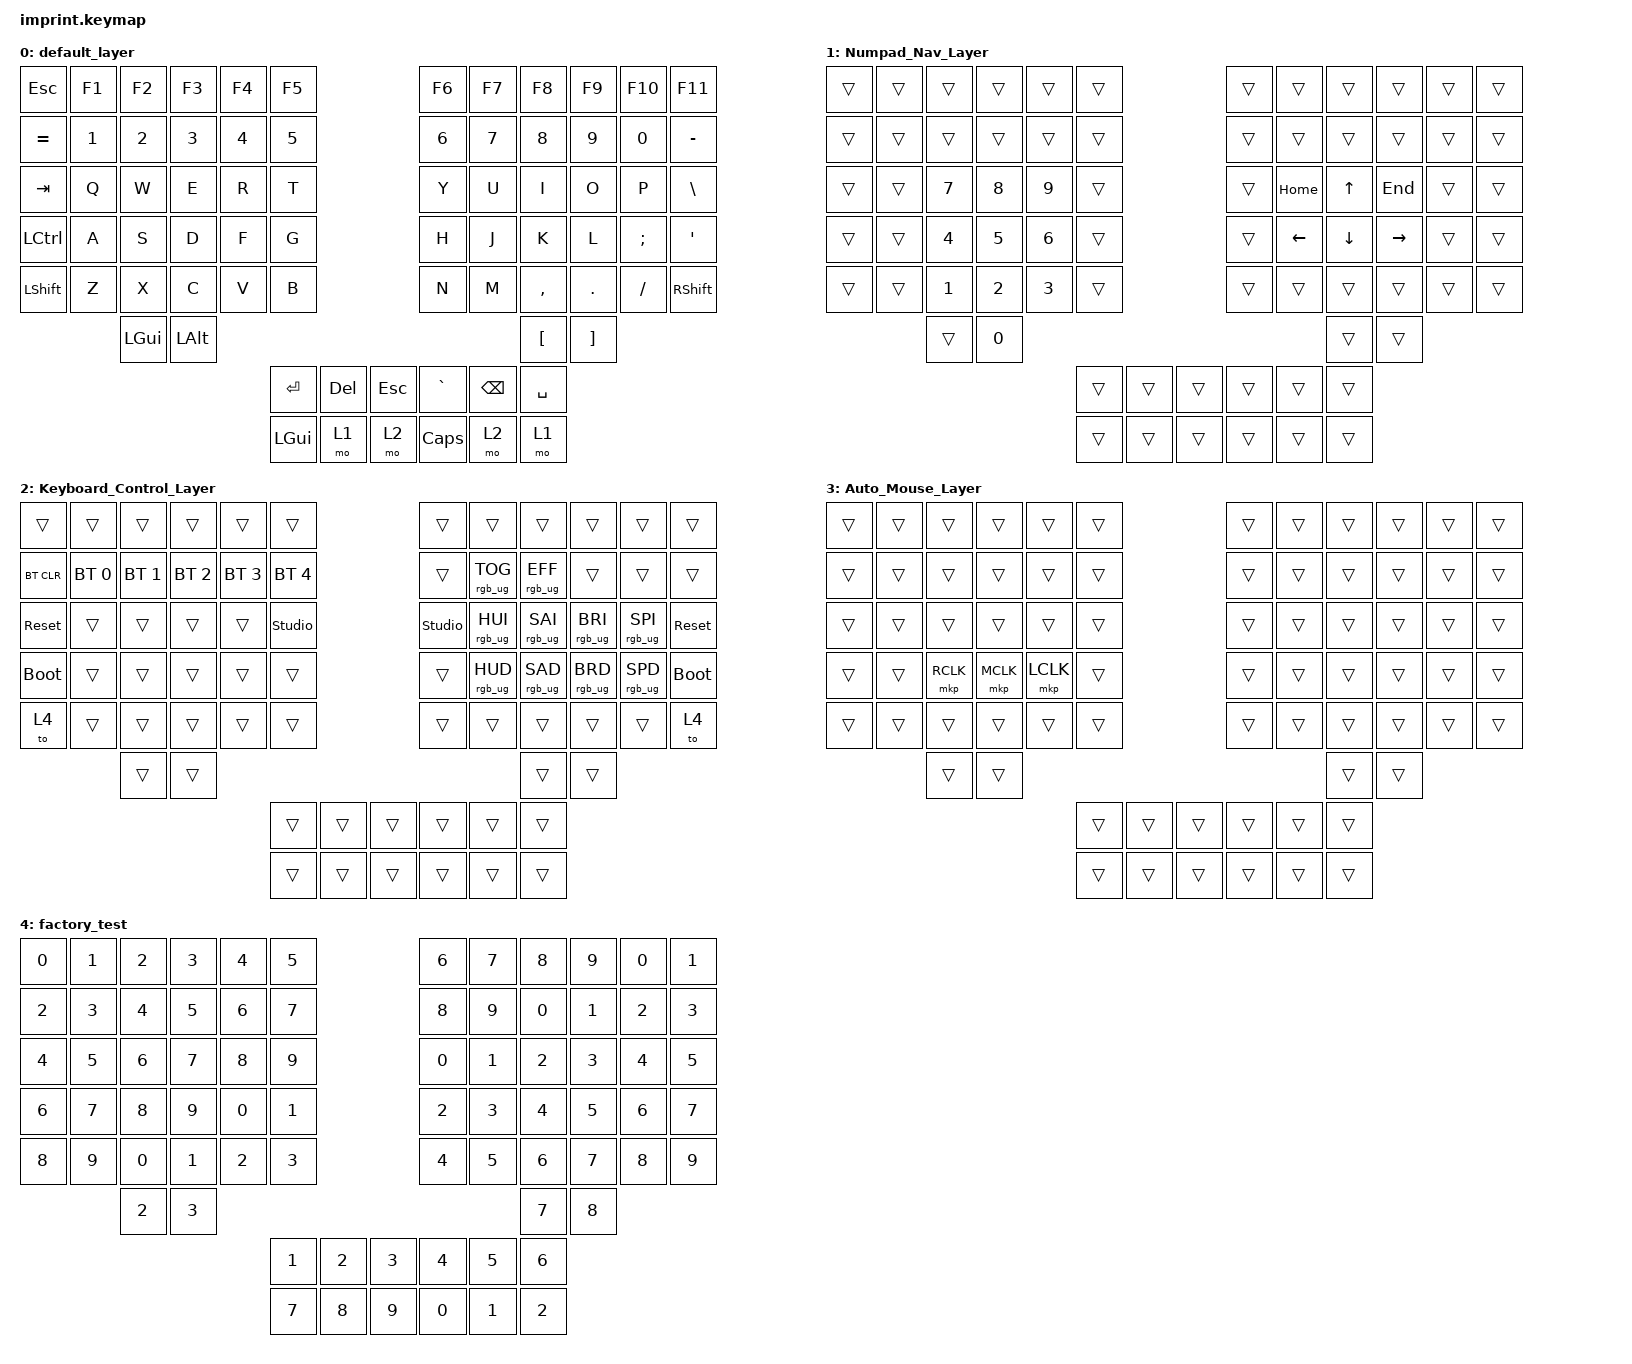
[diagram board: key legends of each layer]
#include <input/processors.dtsi>
#include <dt-bindings/zmk/input_transform.h>
#include <behaviors.dtsi>
#include <dt-bindings/zmk/bt.h>
#include <dt-bindings/zmk/keys.h>
#include <dt-bindings/zmk/pointing.h>
#include <dt-bindings/zmk/rgb.h>

/ {
    chosen { zmk,matrix-transform = &imprint_function_row;
    };
    keymap {
        compatible = "zmk,keymap";

        default_layer {
            bindings = <
 &kp ESC    &kp F1    &kp F2    &kp F3    &kp F4  &kp F5                                         &kp F6      &kp F7     &kp F8    &kp F9   &kp F10  &kp F11
 &kp EQUAL    &kp N1    &kp N2    &kp N3    &kp N4  &kp N5                                         &kp N6      &kp N7     &kp N8    &kp N9   &kp N0   &kp MINUS
 &kp TAB    &kp Q     &kp W     &kp E     &kp R   &kp T                                          &kp Y       &kp U      &kp I     &kp O    &kp P    &kp BSLH
 &kp LCTRL  &kp A     &kp S     &kp D     &kp F   &kp G                                          &kp H       &kp J      &kp K     &kp L    &kp SEMI &kp SQT
 &kp LSHFT  &kp Z     &kp X     &kp C     &kp V   &kp B                                          &kp N       &kp M      &kp COMMA &kp DOT  &kp FSLH &kp RSHFT
                      &kp LGUI  &kp LALT                                                                                &kp LBKT  &kp RBKT
                                                  &kp RET  &kp DEL &kp ESC    &kp GRAVE &kp BSPC &kp SPACE
                                                  &kp LGUI &mo 1   &mo 2      &kp CAPS  &mo 2    &mo 1
            >;
        };

        Numpad_Nav_Layer {
            bindings = <
 &trans  &trans  &trans  &trans  &trans  &trans                                     &trans  &trans   &trans   &trans    &trans  &trans
 &trans  &trans  &trans  &trans  &trans  &trans                                     &trans  &trans   &trans   &trans    &trans  &trans
 &trans  &trans  &kp N7  &kp N8  &kp N9  &trans                                     &trans  &kp HOME &kp UP   &kp END   &trans  &trans
 &trans  &trans  &kp N4  &kp N5  &kp N6  &trans                                     &trans  &kp LEFT &kp DOWN &kp RIGHT &trans  &trans
 &trans  &trans  &kp N1  &kp N2  &kp N3  &trans                                     &trans  &trans   &trans   &trans    &trans  &trans
                 &trans  &kp N0                                                                      &trans   &trans
                                      &trans  &trans &trans       &trans  &trans &trans
                                      &trans  &trans &trans       &trans  &trans &trans
            >;
        };

        Keyboard_Control_Layer {
            bindings = <
 &trans      &trans  &trans  &trans  &trans  &trans                                     &trans         &trans           &trans          &trans          &trans          &trans
 &bt BT_CLR  &bt BT_SEL 0 &bt BT_SEL 1 &bt BT_SEL 2 &bt BT_SEL 3 &bt BT_SEL 4           &trans         &rgb_ug RGB_TOG  &rgb_ug RGB_EFF &trans          &trans          &trans
 &sys_reset      &trans  &trans  &trans  &trans  &studio_unlock                             &studio_unlock &rgb_ug RGB_HUI  &rgb_ug RGB_SAI &rgb_ug RGB_BRI &rgb_ug RGB_SPI &sys_reset
 &bootloader &trans  &trans  &trans  &trans  &trans                                     &trans         &rgb_ug RGB_HUD  &rgb_ug RGB_SAD &rgb_ug RGB_BRD &rgb_ug RGB_SPD &bootloader
 &to 4      &trans  &trans  &trans  &trans  &trans                                     &trans         &trans           &trans          &trans          &trans          &to 4
                 &trans  &trans                                                                                         &trans          &trans
                                         &trans  &trans &trans        &trans &trans &trans
                                         &trans  &trans &trans        &trans &trans &trans
            >;
        };

        Auto_Mouse_Layer {
            bindings = <
 &trans  &trans  &trans  &trans  &trans  &trans                                     &trans  &trans  &trans  &trans  &trans  &trans
 &trans  &trans  &trans  &trans  &trans  &trans                                     &trans  &trans  &trans  &trans  &trans  &trans
 &trans  &trans  &trans  &trans  &trans  &trans                                     &trans  &trans  &trans  &trans  &trans  &trans
 &trans  &trans  &mkp RCLK  &mkp MCLK  &mkp LCLK  &trans                            &trans  &trans  &trans  &trans  &trans  &trans
 &trans  &trans  &trans  &trans  &trans  &trans                                     &trans  &trans  &trans  &trans  &trans  &trans
                 &trans  &trans                                                                     &trans  &trans
                                         &trans  &trans &trans        &trans &trans &trans
                                         &trans  &trans &trans        &trans &trans &trans
            >;
        };

        factory_test {
            bindings = <
&kp N0  &kp N1  &kp N2  &kp N3  &kp N4  &kp N5            &kp N6  &kp N7  &kp N8  &kp N9  &kp N0  &kp N1
&kp N2  &kp N3  &kp N4  &kp N5  &kp N6  &kp N7            &kp N8  &kp N9  &kp N0  &kp N1  &kp N2  &kp N3
&kp N4  &kp N5  &kp N6  &kp N7  &kp N8  &kp N9            &kp N0  &kp N1  &kp N2  &kp N3  &kp N4  &kp N5
&kp N6  &kp N7  &kp N8  &kp N9  &kp N0  &kp N1            &kp N2  &kp N3  &kp N4  &kp N5  &kp N6  &kp N7
&kp N8  &kp N9  &kp N0  &kp N1  &kp N2  &kp N3            &kp N4  &kp N5  &kp N6  &kp N7  &kp N8  &kp N9
                            &kp N2  &kp N3                                                                    &kp N7  &kp N8
                                &kp N1  &kp N2  &kp N3    &kp N4  &kp N5  &kp N6
                                &kp N7  &kp N8  &kp N9    &kp N0  &kp N1  &kp N2
            >;
        };
    };
};

//right hand trackball configuration

&trackball_peripheral_listener {
    input-processors =
        // this gets it to the default installation orientation,
        <&zip_xy_transform INPUT_TRANSFORM_XY_SWAP>;
        // Add these lines to fix reversed movements:
        <&zip_xy_transform INPUT_TRANSFORM_X_INVERT>,
        <&zip_xy_transform INPUT_TRANSFORM_Y_INVERT>;
    // activate layer 3 within 500ms of the trackball moving
    // <&zip_temp_layer 3 500>;
};

//left hand trackball configuration

&trackball_central_listener {
    input-processors =
        // this gets it to the default installation orientation,
        <&zip_xy_transform INPUT_TRANSFORM_XY_SWAP>,
        // multiply sensitivity by 1, divide by 3 (make it slower for scrolling),
        <&zip_xy_scaler 1 3>,
        // make this trackball output scrolling events by default instead of cursor movement,
        <&zip_xy_to_scroll_mapper>,
        // invert vertical scrolling so that the view moves in the same direction as the top of the trackball.,
        <&zip_scroll_transform INPUT_TRANSFORM_Y_INVERT>;
};
